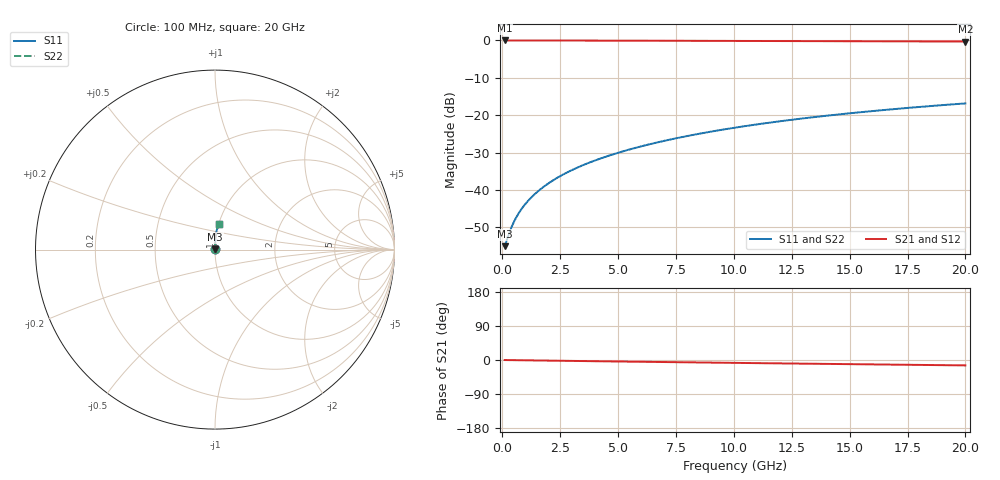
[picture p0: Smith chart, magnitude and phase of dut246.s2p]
! Touchstone file exported from HFSS 2024.1.0
!  File:  C:/UserFiles/LocalFiles/RDL_TSV_Batchsim/temp_RDL_top_246_1778688725.aedt
!  Generated:  12:14:39 AM May 14, 2026
!  Design:  RDL_top
!  Project:  temp_RDL_top_246_1778688725
!  Setup:  Setup1
!  Solution:  Sweep
! Variables:
!  dtsv = 10.80580581um
!  hbump = 3um
!  htsv = 72.15um
!  ldown = 100um
!  lrdl = 187.97um
!  p = 40
!  p1 = 41.3um
!  rhole = 1um
!  t = 450um
!  tdown = 3.915915916um
!  trdl = 2.3um
!  wdown = 15.38538539um
!  wrdl = 22.95um
# GHz S MA R 50.000000
! Terminal data exported
! Port[1] = Box2_T1
! Port[2] = Box2_T2
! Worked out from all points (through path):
!   200 points, 100 MHz to 20 GHz, reference 50 ohm
!   highest |S21| = -0.01 dB at 100 MHz (marker M1); lowest = -0.3 dB at 20 GHz (marker M2)
!   group delay of S21, straight-line fit = 1.96 ps
!   lowest |S11| = -55.0 dB at 100 MHz (marker M3), VSWR 1.00, Z = 50.2 + j0.0692 ohm
!   |S11| at or under -10 dB: start of sweep to end of sweep
!   |S22| runs from -55.0 to -16.8 dB; largest |S21 - S12| = 3.5e-15
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0.1  0.001776 22.8  0.9984 -0.1  0.9984 -0.1  0.001776 22.8
! Gamma 0 0 0 0
! Port Impedance 50 0 50 0
0.3  0.002658 49.4  0.9982 -0.3  0.9982 -0.3  0.002658 49.4
0.4  0.003196 56.0  0.9982 -0.3  0.9982 -0.3  0.003196 56.0
0.6  0.004298 64.1  0.998 -0.5  0.998 -0.5  0.004298 64.1
0.7  0.004852 66.8  0.9979 -0.6  0.9979 -0.6  0.004852 66.8
0.9  0.005965 70.9  0.9978 -0.7  0.9978 -0.7  0.005965 70.9
1.2  0.007657 75.2  0.9976 -1.0  0.9976 -1.0  0.007657 75.2
1.4  0.008803 77.2  0.9974 -1.1  0.9974 -1.1  0.008803 77.2
1.7  0.01055 79.7  0.9972 -1.4  0.9972 -1.4  0.01055 79.7
2.2  0.01352 82.5  0.9968 -1.8  0.9968 -1.8  0.01352 82.5
2.8  0.01718 84.8  0.9961 -2.3  0.9961 -2.3  0.01718 84.8
3.5  0.02158 86.5  0.9953 -2.8  0.9953 -2.8  0.02158 86.5
4.2  0.02612 87.7  0.9943 -3.4  0.9943 -3.4  0.02612 87.7
5  0.03146 88.6  0.993 -4.0  0.993 -4.0  0.03146 88.6
5.9  0.03767 89.2  0.9914 -4.6  0.9914 -4.6  0.03767 89.2
6.8  0.04406 89.4  0.9898 -5.3  0.9898 -5.3  0.04406 89.4
8.4  0.05577 89.2  0.9868 -6.5  0.9868 -6.5  0.05577 89.2
10.1  0.06856 88.5  0.9836 -7.7  0.9836 -7.7  0.06856 88.5
11.7  0.08078 87.6  0.9806 -8.8  0.9806 -8.8  0.08078 87.6
13.4  0.09382 86.4  0.9775 -9.9  0.9775 -9.9  0.09382 86.4
16.7  0.119 83.8  0.9717 -12.1  0.9717 -12.1  0.119 83.8
20  0.1439 81.2  0.9659 -14.3  0.9659 -14.3  0.1439 81.2
